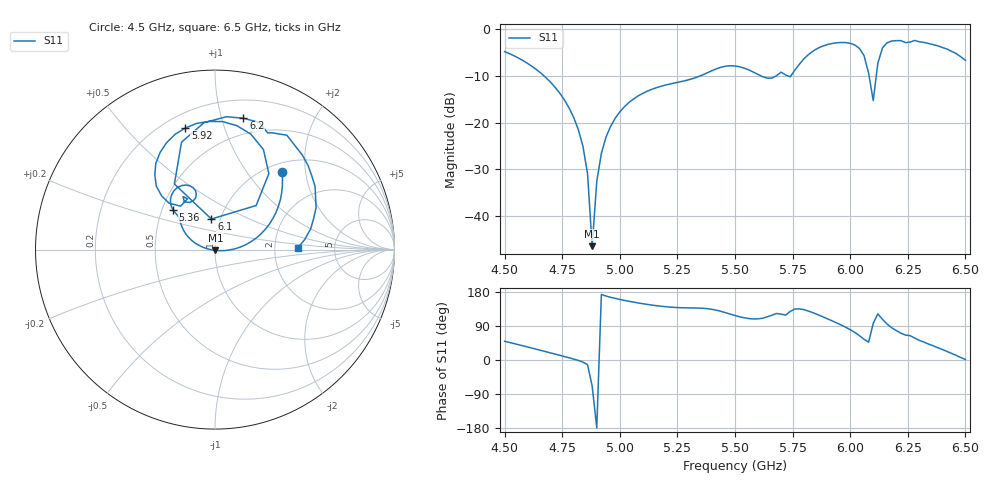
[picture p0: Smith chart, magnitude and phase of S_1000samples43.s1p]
! TOUCHSTONE file generated by CST MICROWAVE STUDIO
! Date and time: Wed Oct 26 19:26:58 2022
! Project name: L.cst
! Parameters = {Di=1.27; Epsilon_r=1.56; InnerDiameter=1.27; Length=2; Lf=10; Lg=60; OuterConductorThickness=0.2921; OuterDiameter=3.6; Wf=3; Wp=41.2; de=1.5; df=6.8; g=0.8; gx=2.88223; gy=1.76817; h=2.34; hf=1.524; px=14.8953; py=11.406; w=9.7; wx=12.0131; wy=9.63783}
! Header version: 2018
! Port assignment regex: !\s*Touchstone port\s*([0-9]+)\s*=\s*(CST MWS port|CST DS port)\s*([0-9]+|Zmin|Zmax)\s*\(\"(.*)\"\)(\s*mode\s*([0-9]+))?.*
! Touchstone port assignment:
! Touchstone port 1 = CST MWS port 1 ("")
# GHz S DB R 50
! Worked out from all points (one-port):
!   101 points, 4.5 GHz to 6.5 GHz, reference 50 ohm
!   lowest |S11| = -46.4 dB at 4.88 GHz (marker M1), VSWR 1.01, Z = 50.2 - j0.447 ohm
!   |S11| at or under -10 dB: 4.67 GHz to 5.351 GHz (680.5 MHz wide, 13.6 % of centre); 5.611 GHz to 5.68 GHz (68.82 MHz wide, 1.22 % of centre); 5.728416 GHz to 5.743016 GHz (14.6 MHz wide, 0.255 % of centre) (the widest 3 of 4)
!   S11 on the Smith chart (normalised r, x): 4.5 GHz: 1.15, +1.49; 5.36 GHz: 0.57, +0.28; 5.92 GHz: 0.28, +0.75; 6.1 GHz: 0.91, +0.32; 6.2 GHz: 0.35, +1.18; 6.5 GHz: 2.72, +0.07
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4.5  -4.84 49.4
4.66  -9.55 24.9
4.76  -15.21 9.0
4.84  -25.06 -5.6
4.86  -30.92 -12.2
4.88  -46.40 -68.5
4.9  -32.58 -179.2
4.92  -26.58 173.0
4.96  -20.83 165.4
5  -17.72 159.8
5.1  -13.76 148.5
5.26  -11.31 138.1
5.36  -9.82 136.5
5.5  -7.92 117.4
5.62  -10.21 110.2
5.76  -8.79 134.7
5.84  -4.69 124.5
5.92  -3.13 103.7
6  -3.08 80.0
6.06  -5.70 54.7
6.08  -9.47 47.0
6.1  -15.31 96.7
6.12  -7.33 121.8
6.14  -4.05 107.3
6.2  -2.51 77.8
6.26  -2.82 64.3
6.38  -3.61 32.4
6.5  -6.70 1.3
